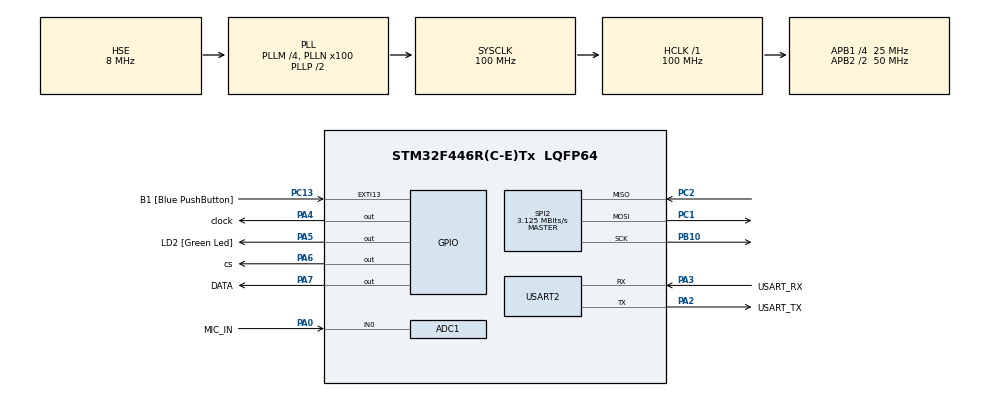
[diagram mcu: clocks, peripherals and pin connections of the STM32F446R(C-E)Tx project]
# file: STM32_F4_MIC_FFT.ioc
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ADC1.Channel-0\#ChannelRegularConversion=ADC_CHANNEL_0
ADC1.ContinuousConvMode=ENABLE
ADC1.EOCSelection=ADC_EOC_SEQ_CONV
ADC1.NbrOfConversionFlag=1
ADC1.Rank-0\#ChannelRegularConversion=1
ADC1.SamplingTime-0\#ChannelRegularConversion=ADC_SAMPLETIME_28CYCLES
ADC1.master=1
ARM.CMSIS.5.7.0.CMSISJjCORE=true
ARM.CMSIS.5.7.0.CMSISJjDSP=Library
Mcu.Family=STM32F4
Mcu.Name=STM32F446R(C-E)Tx
Mcu.Package=LQFP64
NVIC.PriorityGroup=NVIC_PRIORITYGROUP_0
PA0-WKUP.GPIO_Label=MIC_IN
PA0-WKUP.Signal=ADCx_IN0
PA13.GPIO_Label=TMS
PA13.Mode=Serial_Wire
PA13.Signal=SYS_JTMS-SWDIO
PA14.GPIO_Label=TCK
PA14.Mode=Serial_Wire
PA14.Signal=SYS_JTCK-SWCLK
PA2.GPIO_Label=USART_TX
PA2.Mode=Asynchronous
PA2.Signal=USART2_TX
PA3.GPIO_Label=USART_RX
PA3.Mode=Asynchronous
PA3.Signal=USART2_RX
PA4.GPIO_Label=clock
PA4.Signal=GPIO_Output
PA5.GPIO_Label=LD2 [Green Led]
PA5.Signal=GPIO_Output
PA6.GPIO_Label=cs
PA6.Signal=GPIO_Output
PA7.GPIO_Label=DATA
PA7.Signal=GPIO_Output
PB10.Mode=Full_Duplex_Master
PB10.Signal=SPI2_SCK
PB3.GPIO_Label=SWO
PB3.Signal=SYS_JTDO-SWO
PC1.Mode=Full_Duplex_Master
PC1.Signal=SPI2_MOSI
PC13.GPIO_Label=B1 [Blue PushButton]
PC13.GPIO_ModeDefaultEXTI=GPIO_MODE_IT_FALLING
PC13.Signal=GPXTI13
PC14-OSC32_IN.Mode=LSE-External-Oscillator
PC14-OSC32_IN.Signal=RCC_OSC32_IN
PC15-OSC32_OUT.Mode=LSE-External-Oscillator
PC15-OSC32_OUT.Signal=RCC_OSC32_OUT
PC2.Mode=Full_Duplex_Master
PC2.Signal=SPI2_MISO
PH0-OSC_IN.Mode=HSE-External-Oscillator
PH0-OSC_IN.Signal=RCC_OSC_IN
PH1-OSC_OUT.Mode=HSE-External-Oscillator
PH1-OSC_OUT.Signal=RCC_OSC_OUT
ProjectManager.HeapSize=0x200
ProjectManager.StackSize=0x400
ProjectManager.TargetToolchain=STM32CubeIDE
RCC.48MHZClocksFreq_Value=84000000
RCC.AHBFreq_Value=100000000
RCC.APB1CLKDivider=RCC_HCLK_DIV4
RCC.APB1Freq_Value=25000000
RCC.APB1TimFreq_Value=50000000
RCC.APB2CLKDivider=RCC_HCLK_DIV2
RCC.APB2Freq_Value=50000000
RCC.APB2TimFreq_Value=100000000
RCC.CortexFreq_Value=100000000
RCC.FLatency-AdvancedSettings=FLASH_LATENCY_3
RCC.HCLKFreq_Value=100000000
RCC.HSE_VALUE=8000000
RCC.HSI_VALUE=16000000
RCC.PLLM=4
RCC.PLLN=100
RCC.PLLSourceVirtual=RCC_PLLSOURCE_HSE
RCC.SYSCLKFreq_VALUE=100000000
RCC.SYSCLKSource=RCC_SYSCLKSOURCE_PLLCLK
RCC.USBFreq_Value=100000000
RCC.VCOOutputFreq_Value=200000000
SH.ADCx_IN0.0=ADC1_IN0,IN0
SPI2.BaudRatePrescaler=SPI_BAUDRATEPRESCALER_8
SPI2.CalculateBaudRate=3.125 MBits/s
SPI2.Direction=SPI_DIRECTION_2LINES
SPI2.Mode=SPI_MODE_MASTER
SPI2.VirtualType=VM_MASTER
TIM2.AutoReloadPreload=TIM_AUTORELOAD_PRELOAD_ENABLE
TIM2.Period=65535
USART2.VirtualMode=VM_ASYNC
VP_ARM.CMSIS_VS_CMSISJjCORE_5.4.0_5.7.0.Mode=CMSISJjCORE
VP_ARM.CMSIS_VS_CMSISJjDSP_1.8.0_5.7.0.Mode=CMSISJjDSP
VP_TIM2_VS_ClockSourceINT.Mode=Internal
board=NUCLEO-F446RE

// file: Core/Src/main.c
/* USER CODE BEGIN Header */
/**
 ******************************************************************************
 * @file           : main.c
 * @brief          : Main program body
 ******************************************************************************
 * @attention
 *
 * Copyright (c) 2022 STMicroelectronics.
 * All rights reserved.
 *
 * This software is licensed under terms that can be found in the LICENSE file
 * in the root directory of this software component.
 * If no LICENSE file comes with this software, it is provided AS-IS.
 *
 ******************************************************************************
 */
/* USER CODE END Header */
#include "main.h"

/* USER CODE BEGIN Includes */
#include "arm_math.h"

/* USER CODE END Includes */

 ADC_HandleTypeDef hadc1;

SPI_HandleTypeDef hspi2;

TIM_HandleTypeDef htim2;

UART_HandleTypeDef huart2;

void SystemClock_Config(void);
static void MX_GPIO_Init(void);
static void MX_ADC1_Init(void);
static void MX_USART2_UART_Init(void);
static void MX_SPI2_Init(void);
static void MX_TIM2_Init(void);
/* USER CODE BEGIN PFP */
void FFT_output_shrinker(); // averages the fft array to 8 equal segments and averages to show peak.
void displayfft();
uint8_t display_column_filler();
void delay_us (uint16_t us); // delay (1)=10ns so use delay(100) for us
/* USER CODE END PFP */

/* USER CODE BEGIN 0 */
// ADC_HandleTypeDef hadc1;

#define BUFFER_SIZE 2048
float32_t Adc_input[BUFFER_SIZE];
float32_t FFT_output[BUFFER_SIZE / 2];
float32_t smol_FFT_out[8];
int smol_FFT_out_in_8_range[8];
uint32_t fftSize = BUFFER_SIZE / 2;
uint32_t ifftFlag = 0;
uint32_t doBitReverse = 1;
arm_cfft_instance_f32 varInstCfftF32;
uint32_t refIndex = 213, testIndex = 0;

int i;
/* USER CODE END 0 */

int main(void)
{

  /* MCU Configuration--------------------------------------------------------*/

  /* Reset of all peripherals, Initializes the Flash interface and the Systick. */
  HAL_Init();

  /* Configure the system clock */
  SystemClock_Config();

  /* Initialize all configured peripherals */
  MX_GPIO_Init();
  MX_ADC1_Init();
  MX_USART2_UART_Init();
  MX_SPI2_Init();
  MX_TIM2_Init();
  /* USER CODE BEGIN 2 */
  max_init();

  if (HAL_ADC_Start(&hadc1) != HAL_OK)
  {
    Error_Handler();
  }

  write_string("WELCOME");

  double fft_out[BUFFER_SIZE];

  /* USER CODE END 2 */

  /* Infinite loop */
  /* USER CODE BEGIN WHILE */
  HAL_GPIO_TogglePin(LD2_GPIO_Port, LD2_Pin);
  while (1)
  {
    if (HAL_ADC_PollForConversion(&hadc1, HAL_MAX_DELAY) == HAL_OK)
    {
      for (i = 0; i < BUFFER_SIZE; i++)
      {
        Adc_input[i] = HAL_ADC_GetValue(&hadc1); // 0-4095
        delay_us(500);

      }

      fft();
      FFT_output_shrinker();
      displayfft();
      delay_us(5000);
    }

    HAL_Delay(10);
    HAL_GPIO_TogglePin(LD2_GPIO_Port, LD2_Pin);

    /* USER CODE END WHILE */

  }
}

void SystemClock_Config(void)
{
  RCC_OscInitTypeDef RCC_OscInitStruct = {0};
  RCC_ClkInitTypeDef RCC_ClkInitStruct = {0};

  /** Configure the main internal regulator output voltage
  */
  __HAL_RCC_PWR_CLK_ENABLE();
  __HAL_PWR_VOLTAGESCALING_CONFIG(PWR_REGULATOR_VOLTAGE_SCALE3);

  /** Initializes the RCC Oscillators according to the specified parameters
  * in the RCC_OscInitTypeDef structure.
  */
  RCC_OscInitStruct.OscillatorType = RCC_OSCILLATORTYPE_HSE;
  RCC_OscInitStruct.HSEState = RCC_HSE_ON;
  RCC_OscInitStruct.PLL.PLLState = RCC_PLL_ON;
  RCC_OscInitStruct.PLL.PLLSource = RCC_PLLSOURCE_HSE;
  RCC_OscInitStruct.PLL.PLLM = 4;
  RCC_OscInitStruct.PLL.PLLN = 100;
  RCC_OscInitStruct.PLL.PLLP = RCC_PLLP_DIV2;
  RCC_OscInitStruct.PLL.PLLQ = 2;
  RCC_OscInitStruct.PLL.PLLR = 2;
  if (HAL_RCC_OscConfig(&RCC_OscInitStruct) != HAL_OK)
  {
    Error_Handler();
  }

  /** Initializes the CPU, AHB and APB buses clocks
  */
  RCC_ClkInitStruct.ClockType = RCC_CLOCKTYPE_HCLK|RCC_CLOCKTYPE_SYSCLK
                              |RCC_CLOCKTYPE_PCLK1|RCC_CLOCKTYPE_PCLK2;
  RCC_ClkInitStruct.SYSCLKSource = RCC_SYSCLKSOURCE_PLLCLK;
  RCC_ClkInitStruct.AHBCLKDivider = RCC_SYSCLK_DIV1;
  RCC_ClkInitStruct.APB1CLKDivider = RCC_HCLK_DIV4;
  RCC_ClkInitStruct.APB2CLKDivider = RCC_HCLK_DIV2;

  if (HAL_RCC_ClockConfig(&RCC_ClkInitStruct, FLASH_LATENCY_3) != HAL_OK)
  {
    Error_Handler();
  }
}

static void MX_ADC1_Init(void)
{

  ADC_ChannelConfTypeDef sConfig = {0};

  /** Configure the global features of the ADC (Clock, Resolution, Data Alignment and number of conversion)
  */
  hadc1.Instance = ADC1;
  hadc1.Init.ClockPrescaler = ADC_CLOCK_SYNC_PCLK_DIV2;
  hadc1.Init.Resolution = ADC_RESOLUTION_12B;
  hadc1.Init.ScanConvMode = DISABLE;
  hadc1.Init.ContinuousConvMode = ENABLE;
  hadc1.Init.DiscontinuousConvMode = DISABLE;
  hadc1.Init.ExternalTrigConvEdge = ADC_EXTERNALTRIGCONVEDGE_NONE;
  hadc1.Init.ExternalTrigConv = ADC_SOFTWARE_START;
  hadc1.Init.DataAlign = ADC_DATAALIGN_RIGHT;
  hadc1.Init.NbrOfConversion = 1;
  hadc1.Init.DMAContinuousRequests = DISABLE;
  hadc1.Init.EOCSelection = ADC_EOC_SEQ_CONV;
  if (HAL_ADC_Init(&hadc1) != HAL_OK)
  {
    Error_Handler();
  }

  /** Configure for the selected ADC regular channel its corresponding rank in the sequencer and its sample time.
  */
  sConfig.Channel = ADC_CHANNEL_0;
  sConfig.Rank = 1;
  sConfig.SamplingTime = ADC_SAMPLETIME_28CYCLES;
  if (HAL_ADC_ConfigChannel(&hadc1, &sConfig) != HAL_OK)
  {
    Error_Handler();
  }

}

static void MX_SPI2_Init(void)
{

  /* SPI2 parameter configuration*/
  hspi2.Instance = SPI2;
  hspi2.Init.Mode = SPI_MODE_MASTER;
  hspi2.Init.Direction = SPI_DIRECTION_2LINES;
  hspi2.Init.DataSize = SPI_DATASIZE_8BIT;
  hspi2.Init.CLKPolarity = SPI_POLARITY_LOW;
  hspi2.Init.CLKPhase = SPI_PHASE_1EDGE;
  hspi2.Init.NSS = SPI_NSS_SOFT;
  hspi2.Init.BaudRatePrescaler = SPI_BAUDRATEPRESCALER_8;
  hspi2.Init.FirstBit = SPI_FIRSTBIT_MSB;
  hspi2.Init.TIMode = SPI_TIMODE_DISABLE;
  hspi2.Init.CRCCalculation = SPI_CRCCALCULATION_DISABLE;
  hspi2.Init.CRCPolynomial = 10;
  if (HAL_SPI_Init(&hspi2) != HAL_OK)
  {
    Error_Handler();
  }

}

static void MX_TIM2_Init(void)
{

  TIM_ClockConfigTypeDef sClockSourceConfig = {0};
  TIM_MasterConfigTypeDef sMasterConfig = {0};

  htim2.Instance = TIM2;
  htim2.Init.Prescaler = 0;
  htim2.Init.CounterMode = TIM_COUNTERMODE_UP;
  htim2.Init.Period = 65535;
  htim2.Init.ClockDivision = TIM_CLOCKDIVISION_DIV1;
  htim2.Init.AutoReloadPreload = TIM_AUTORELOAD_PRELOAD_ENABLE;
  if (HAL_TIM_Base_Init(&htim2) != HAL_OK)
  {
    Error_Handler();
  }
  sClockSourceConfig.ClockSource = TIM_CLOCKSOURCE_INTERNAL;
  if (HAL_TIM_ConfigClockSource(&htim2, &sClockSourceConfig) != HAL_OK)
  {
    Error_Handler();
  }
  sMasterConfig.MasterOutputTrigger = TIM_TRGO_RESET;
  sMasterConfig.MasterSlaveMode = TIM_MASTERSLAVEMODE_DISABLE;
  if (HAL_TIMEx_MasterConfigSynchronization(&htim2, &sMasterConfig) != HAL_OK)
  {
    Error_Handler();
  }

}

static void MX_USART2_UART_Init(void)
{

  huart2.Instance = USART2;
  huart2.Init.BaudRate = 115200;
  huart2.Init.WordLength = UART_WORDLENGTH_8B;
  huart2.Init.StopBits = UART_STOPBITS_1;
  huart2.Init.Parity = UART_PARITY_NONE;
  huart2.Init.Mode = UART_MODE_TX_RX;
  huart2.Init.HwFlowCtl = UART_HWCONTROL_NONE;
  huart2.Init.OverSampling = UART_OVERSAMPLING_16;
  if (HAL_UART_Init(&huart2) != HAL_OK)
  {
    Error_Handler();
  }

}

static void MX_GPIO_Init(void)
{
  GPIO_InitTypeDef GPIO_InitStruct = {0};

  /* GPIO Ports Clock Enable */
  __HAL_RCC_GPIOC_CLK_ENABLE();
  __HAL_RCC_GPIOH_CLK_ENABLE();
  __HAL_RCC_GPIOA_CLK_ENABLE();
  __HAL_RCC_GPIOB_CLK_ENABLE();

  /*Configure GPIO pin Output Level */
  HAL_GPIO_WritePin(GPIOA, clock_Pin|LD2_Pin|cs_Pin|DATA_Pin, GPIO_PIN_RESET);

  /*Configure GPIO pin : B1_Pin */
  GPIO_InitStruct.Pin = B1_Pin;
  GPIO_InitStruct.Mode = GPIO_MODE_IT_FALLING;
  GPIO_InitStruct.Pull = GPIO_NOPULL;
  HAL_GPIO_Init(B1_GPIO_Port, &GPIO_InitStruct);

  /*Configure GPIO pins : clock_Pin LD2_Pin cs_Pin DATA_Pin */
  GPIO_InitStruct.Pin = clock_Pin|LD2_Pin|cs_Pin|DATA_Pin;
  GPIO_InitStruct.Mode = GPIO_MODE_OUTPUT_PP;
  GPIO_InitStruct.Pull = GPIO_NOPULL;
  GPIO_InitStruct.Speed = GPIO_SPEED_FREQ_LOW;
  HAL_GPIO_Init(GPIOA, &GPIO_InitStruct);

}

/* USER CODE BEGIN 4 */
void fft(void)
{
  arm_status status;
  status = ARM_MATH_SUCCESS;
  status = arm_cfft_init_f32(&varInstCfftF32, fftSize);
  /* Process the data through the CFFT/CIFFT module */
  arm_cfft_f32(&varInstCfftF32, Adc_input, ifftFlag, doBitReverse);
  /* Process the data through the Complex Magnitude Module for
  calculating the magnitude at each bin */
  arm_cmplx_mag_f32(Adc_input, FFT_output, fftSize);
  FFT_output[0] = FFT_output[1];

  /* Calculates maxValue and returns corresponding BIN value */

  status = (testIndex != refIndex) ? ARM_MATH_TEST_FAILURE : ARM_MATH_SUCCESS;
}

void FFT_output_shrinker()
{
  int count = 0;
  float32_t temp_average = 0.0;
  for (int j = 0; j < 8; j++)
  {
    for (int i = count, k = 0; k < (BUFFER_SIZE/4) / 8 / 2; i++, k++)
    {
      temp_average = temp_average + FFT_output[i];
    }
    temp_average = temp_average / ((BUFFER_SIZE/4) / 8 / 2);
    smol_FFT_out[j] = temp_average;
    temp_average = 0.0;
    count = count + ((BUFFER_SIZE/4) / 8 / 2);
  }
}

void displayfft()
{
  float32_t max_in_smol_fft = smol_FFT_out[0];
  for (int j = 0; j < 8; j++)
  {
    if (smol_FFT_out[j] > max_in_smol_fft)
      max_in_smol_fft = smol_FFT_out[j];
  }
	//max_in_smol_fft=4095; //you can make this value to be 4095 to have more precise results however i use the for loop to have better visibility
  int OldRange = ((int)max_in_smol_fft + 1 - 0);
  int NewRange = (8 - 0);

  for (int j = 0; j < 8; j++)
  {
    smol_FFT_out_in_8_range[j] = (((int)smol_FFT_out[j] - 0) * NewRange) / OldRange + 0;
  }

  for (int i = 1; i < 9; i++)
  {
    write_max(i, display_column_filler(i-1));
  }

}

uint8_t display_column_filler(int i){
 switch(smol_FFT_out_in_8_range[i]){
        case 0:
            return 0x0;
            break;

        case 1:
            return 0x1;
            break;

        case 2:
            return 0x3;
            break;

        case 3:
            return 0x7;
            break;

        case 4:
            return 0xF;
            break;

        case 5:
            return 0x1F;
            break;

        case 6:
             return 0x3F;
            break;

        case 7:
            return 0x7F;
            break;

        case 8:
            return 0xFF;
            break;
    }
    return 0x0;
}
void delay_us (uint16_t us)
{
	__HAL_TIM_SET_COUNTER(&htim2,0);  // set the counter value a 0
  HAL_TIM_Base_Start(&htim2);
	while (__HAL_TIM_GET_COUNTER(&htim2) < us);  // wait for the counter to reach the us input in the parameter
}
/* USER CODE END 4 */

void Error_Handler(void)
{
  __disable_irq();
  while (1)
  {
  }
}
